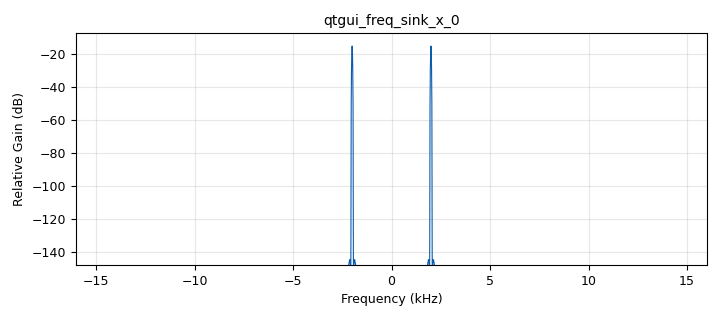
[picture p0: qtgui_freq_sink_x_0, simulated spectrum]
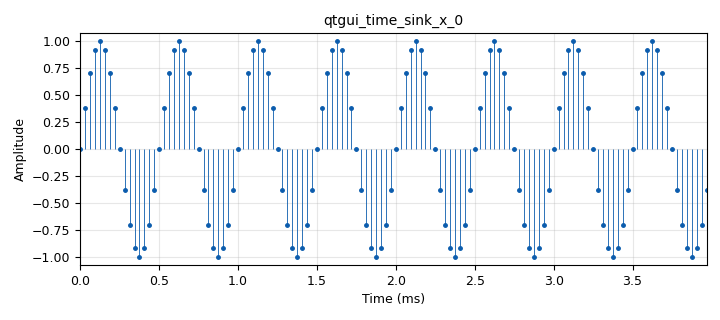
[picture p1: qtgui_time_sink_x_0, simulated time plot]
options:
  parameters:
    author: Juan Rondón y Jorge Angarita
    copyright: '2020'
    description: Sample Rate demo
    generate_options: qt_gui
    id: sample_rate_demo
    output_language: python
    title: Sample Rate demo
  states: {}

blocks:
- name: freq
  id: variable_qtgui_range
  parameters:
    label: Frequency
    start: '1000'
    step: '1000'
    stop: '40000'
    value: '2000'
  states: {}
- name: samp_rate
  id: variable
  parameters:
    value: 32e3
  states: {state: disabled}
- name: samp_rate
  id: variable_qtgui_range
  parameters:
    label: Frecuencia de Muestreo
    start: '1000'
    step: '1000'
    stop: '40000'
    value: '32000'
  states: {}
- name: analog_sig_source_x_0
  id: analog_sig_source_x
  parameters:
    amp: '1'
    freq: freq
    offset: '0'
    phase: '0'
    samp_rate: samp_rate
    type: float
    waveform: analog.GR_SIN_WAVE
  states: {}
- name: blocks_throttle_0
  id: blocks_throttle
  parameters:
    samples_per_second: samp_rate
    type: float
  states: {}
- name: qtgui_freq_sink_x_0
  id: qtgui_freq_sink_x
  parameters:
    autoscale: 'True'
    average: '0.05'
    bw: '32000'
    fc: '0'
    fftsize: '2048'
    type: float
  states: {}
- name: qtgui_time_sink_x_0
  id: qtgui_time_sink_x
  parameters:
    marker1: '0'
    size: '128'
    srate: samp_rate
    stemplot: 'True'
    type: float
  states: {}

connections:
- [analog_sig_source_x_0, '0', blocks_throttle_0, '0']
- [blocks_throttle_0, '0', qtgui_freq_sink_x_0, '0']
- [blocks_throttle_0, '0', qtgui_time_sink_x_0, '0']

metadata:
  file_format: 1
